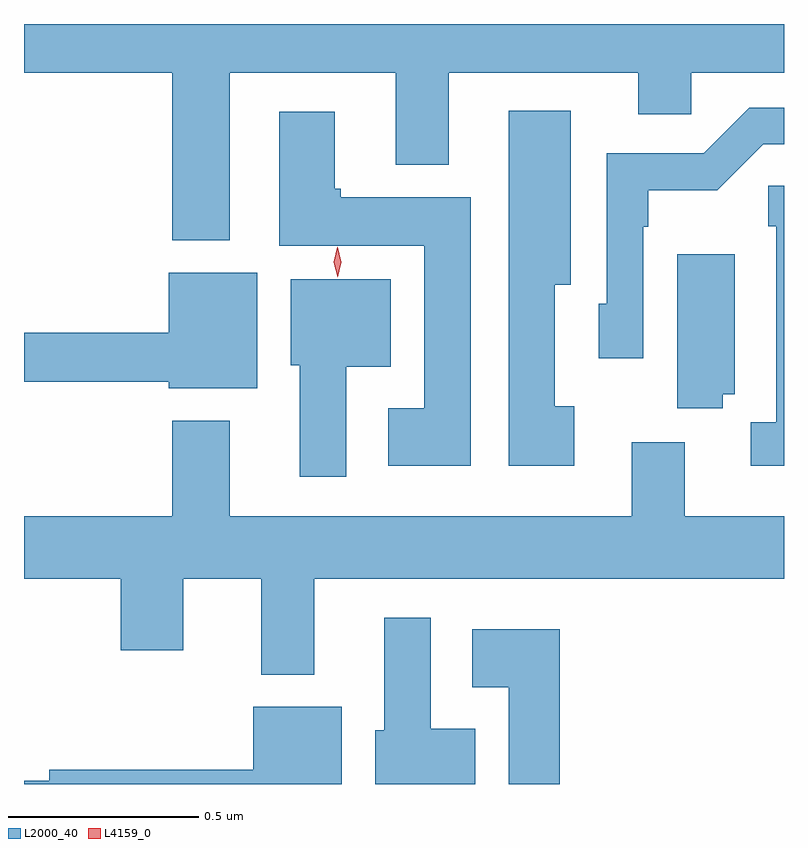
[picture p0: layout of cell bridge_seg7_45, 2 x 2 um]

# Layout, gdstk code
import gdstk
lib = gdstk.Library(unit=1e-6, precision=1e-09)
def P(c, l, *ps):  # polygons
    for p in ps: c.add(gdstk.Polygon(p, *l))
L2000_40 = (2000, 40)
L4159_0 = (4159, 0)

bridge_seg7_45 = lib.new_cell('bridge_seg7_45')
P(bridge_seg7_45, L2000_40, [(1004.455,1033.916),(1004.891,1033.916),(1004.891,1033.673),(1005.031,1033.673),(1005.031,1033.916),(1005.53,1033.916),(1005.53,1033.806),(1005.669,1033.806),(1005.669,1033.916),(1005.913,1033.916),(1005.913,1034.044),(1003.913,1034.044),(1003.913,1033.916),(1004.303,1033.916),(1004.303,1033.475),(1004.455,1033.475)],
  [(1005.543,1033.511),(1005.556,1033.511),(1005.556,1033.607),(1005.737,1033.607),(1005.858,1033.728),(1005.913,1033.728),(1005.913,1033.824),(1005.822,1033.824),(1005.702,1033.704),(1005.447,1033.704),(1005.447,1033.308),(1005.426,1033.308),(1005.426,1033.164),(1005.543,1033.164)],
  [(1005.361,1033.038),(1005.31,1033.038),(1005.31,1033.358),(1005.352,1033.358),(1005.352,1033.816),(1005.188,1033.816),(1005.188,1032.882),(1005.361,1032.882)],
  [(1005.088,1033.588),(1004.747,1033.588),(1004.747,1033.611),(1004.731,1033.611),(1004.731,1033.813),(1004.585,1033.813),(1004.585,1033.46),(1004.966,1033.46),(1004.966,1033.033),(1004.871,1033.033),(1004.871,1032.881),(1005.088,1032.881)],
  [(1005.913,1033.618),(1005.871,1033.618),(1005.871,1033.512),(1005.893,1033.512),(1005.893,1032.996),(1005.825,1032.996),(1005.825,1032.881),(1005.913,1032.881)],
  [(1005.752,1033.07),(1005.784,1033.07),(1005.784,1033.438),(1005.632,1033.438),(1005.632,1033.033),(1005.752,1033.033)],
  [(1004.527,1033.39),(1004.294,1033.39),(1004.294,1033.232),(1003.913,1033.232),(1003.913,1033.103),(1004.294,1033.103),(1004.294,1033.085),(1004.527,1033.085)],
  [(1004.761,1033.142),(1004.878,1033.142),(1004.878,1033.372),(1004.615,1033.372),(1004.615,1033.146),(1004.639,1033.146),(1004.639,1032.852),(1004.761,1032.852)],
  [(1004.677,1032.584),(1005.913,1032.584),(1005.913,1032.748),(1005.652,1032.748),(1005.652,1032.943),(1005.512,1032.943),(1005.512,1032.748),(1004.455,1032.748),(1004.455,1033),(1004.303,1033),(1004.303,1032.748),(1003.913,1032.748),(1003.913,1032.584),(1004.168,1032.584),(1004.168,1032.396),(1004.332,1032.396),(1004.332,1032.584),(1004.537,1032.584),(1004.537,1032.332),(1004.677,1032.332)],
  [(1005.1,1032.19),(1004.983,1032.19),(1004.983,1032.481),(1004.861,1032.481),(1004.861,1032.186),(1004.837,1032.186),(1004.837,1032.044),(1005.1,1032.044)],
  [(1005.323,1032.451),(1005.093,1032.451),(1005.093,1032.299),(1005.188,1032.299),(1005.188,1032.044),(1005.323,1032.044)],
  [(1004.749,1032.247),(1004.516,1032.247),(1004.516,1032.082),(1003.979,1032.082),(1003.979,1032.053),(1003.913,1032.053),(1003.913,1032.044),(1004.749,1032.044)])
P(bridge_seg7_45, L4159_0, [(1004.738,1033.377),(1004.738,1033.377),(1004.728,1033.417),(1004.737,1033.457),(1004.738,1033.457),(1004.738,1033.457),(1004.748,1033.417),(1004.738,1033.377)])

lib.write_gds('bridge_seg7_45.gds')
